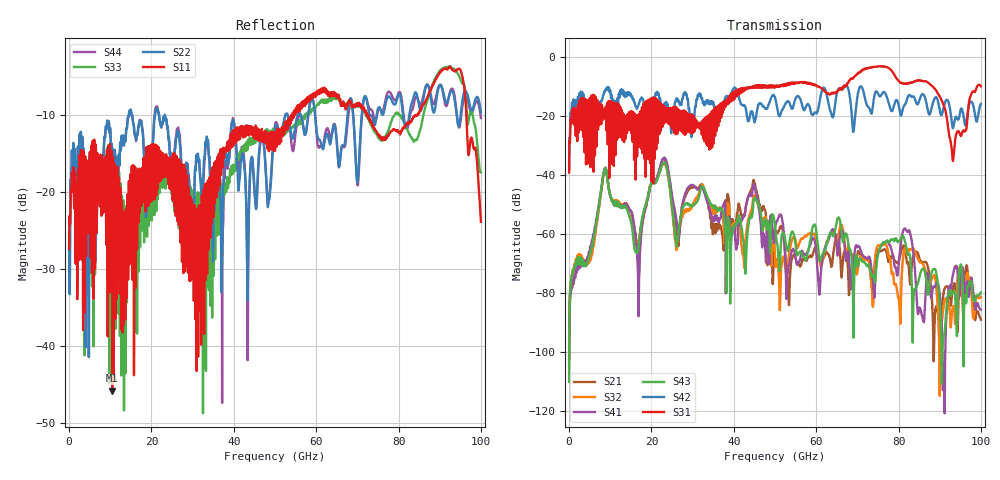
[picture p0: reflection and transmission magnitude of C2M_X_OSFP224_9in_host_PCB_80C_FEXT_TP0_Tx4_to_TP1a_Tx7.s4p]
# GHz S RI R 45
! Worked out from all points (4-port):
!   4000 points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, 25 MHz to 100 GHz, reference 45 ohm
!   strongest paths, dB at 25 MHz, 25.02 GHz, 50.02 GHz, 75.03 GHz, 100 GHz:
!     S31: -39.1, -17.6, -10.4, -3.2, -9.9
!     S42: -38.0, -22.6, -13.7, -12.5, -15.9
!     S43: -110.0, -51.2, -57.2, -67.0, -79.8
!     S41: -102.2, -47.2, -58.1, -66.6, -85.5
!     S32: -98.6, -52.1, -67.6, -63.9, -81.3
!     S21: -105.5, -48.2, -60.0, -65.2, -88.9
!   lowest |S11| = -45.8 dB at 10.5 GHz (marker M1), VSWR 1.01, Z = 44.6 + j0.237 ohm
!   |S11| at or under -10 dB: start of sweep to 53.96 GHz; 72.44 GHz to 84.38 GHz (11.94 GHz wide, 15.2 % of centre); 96.47 GHz to end of sweep (the widest 3 of 7)
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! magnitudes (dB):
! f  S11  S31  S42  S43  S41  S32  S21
! 25 MHz  -27.4  -39.1  -38.0  -110.0  -102.2  -98.6  -105.5
! 10.5 GHz  -45.8  -36.3  -15.5  -48.8  -48.9  -48.6  -48.8
! 16.8 GHz  -20.4  -23.6  -16.7  -65.4  -77.8  -62.9  -71.1
! 23.05 GHz  -17.7  -22.0  -17.4  -35.8  -34.2  -36.0  -34.5
! 76.4 GHz  -13.2  -3.2  -11.9  -62.9  -63.0  -63.4  -65.3
! 93.2 GHz  -4.2  -35.2  -24.1  -80.0  -73.9  -84.8  -78.4
! 100 GHz  -23.9  -9.9  -15.9  -79.8  -85.5  -81.3  -88.9
